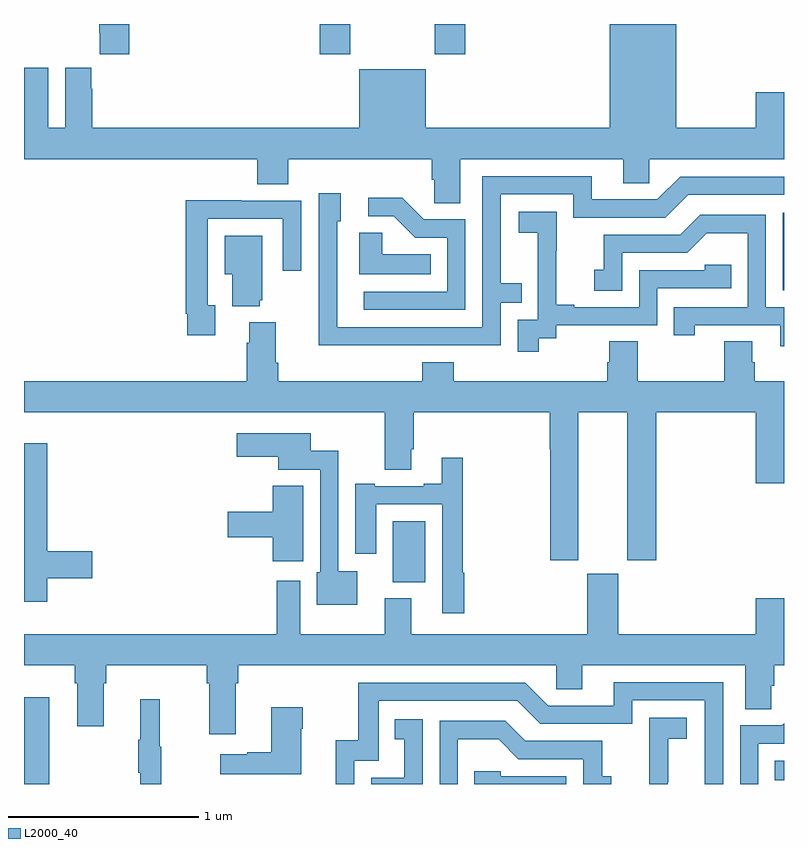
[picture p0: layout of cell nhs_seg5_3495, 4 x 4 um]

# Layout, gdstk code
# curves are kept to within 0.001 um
import gdstk
lib = gdstk.Library(unit=1e-6, precision=1e-09)
def R(c, l, rs):  # rectangles x0, y0, x1, y1
    for r in rs: c.add(gdstk.rectangle(r[:2], r[2:], *l))
def P(c, l, *ps):  # polygons
    for p in ps: c.add(gdstk.Polygon(p, *l))
L2000_40 = (2000, 40)

nhs_seg5_3495 = lib.new_cell('nhs_seg5_3495')
R(nhs_seg5_3495, L2000_40, [(317,858.799,317.134,859.255), (320.95,858.818,321,858.922), (318.941,859.862,319.111,860.182), (320.994,861.399,321,861.805), (318.557,862.641,318.717,862.799), (319.162,862.641,319.322,862.799)])
P(nhs_seg5_3495, L2000_40, [(318.227,861.955),(318.392,861.955),(318.392,862.088),(319.145,862.088),(319.145,861.979),(319.158,861.979),(319.158,861.856),(319.297,861.856),(319.297,862.088),(320.153,862.088),(320.153,861.961),(320.292,861.961),(320.292,862.088),(321,862.088),(321,862.441),(320.852,862.441),(320.852,862.252),(320.434,862.252),(320.434,862.799),(320.084,862.799),(320.084,862.252),(319.114,862.252),(319.114,862.561),(318.764,862.561),(318.764,862.252),(317.36,862.252),(317.36,862.457),(317.353,862.457),(317.353,862.57),(317.216,862.57),(317.216,862.252),(317.128,862.252),(317.128,862.57),(317,862.57),(317,862.088),(318.227,862.088)],
  [(317.555,862.799),(317.395,862.799),(317.395,862.753),(317.399,862.753),(317.399,862.641),(317.555,862.641)],
  [(319.013,861.108),(319.509,861.108),(319.509,861.333),(319.619,861.333),(319.619,861.434),(319.509,861.434),(319.509,861.903),(319.89,861.903),(319.89,861.78),(320.376,861.78),(320.496,861.9),(321,861.9),(321,861.996),(320.454,861.996),(320.334,861.876),(319.987,861.876),(319.987,861.999),(319.413,861.999),(319.413,861.204),(318.648,861.204),(318.648,861.762),(318.667,861.762),(318.667,861.907),(318.552,861.907),(318.552,861.413),(318.55,861.413),(318.55,861.107)],
  [(319.323,861.771),(319.104,861.771),(318.991,861.884),(318.813,861.884),(318.813,861.786),(318.947,861.786),(319.058,861.675),(319.227,861.675),(319.227,861.39),(318.789,861.39),(318.789,861.294),(319.323,861.294)],
  [(318.007,861.318),(317.967,861.318),(317.967,861.774),(318.363,861.774),(318.363,861.501),(318.459,861.501),(318.459,861.87),(318.143,861.87),(318.143,861.872),(317.851,861.872),(317.851,861.274),(317.859,861.274),(317.859,861.162),(318.007,861.162)],
  [(319.708,861.145),(319.8,861.145),(319.8,861.213),(320.334,861.213),(320.334,861.408),(320.723,861.408),(320.723,861.531),(320.583,861.531),(320.583,861.504),(320.238,861.504),(320.238,861.309),(319.897,861.309),(319.897,861.322),(319.802,861.322),(319.802,861.605),(319.803,861.605),(319.803,861.811),(319.605,861.811),(319.605,861.701),(319.703,861.701),(319.703,861.473),(319.704,861.473),(319.704,861.243),(319.599,861.243),(319.599,861.075),(319.708,861.075)],
  [(321,861.309),(320.904,861.309),(320.904,861.795),(320.558,861.795),(320.453,861.69),(320.05,861.69),(320.05,861.505),(320.001,861.505),(320.001,861.396),(320.148,861.396),(320.148,861.594),(320.49,861.594),(320.594,861.698),(320.808,861.698),(320.808,861.309),(320.419,861.309),(320.419,861.162),(320.53,861.162),(320.53,861.213),(320.981,861.213),(320.981,861.102),(321,861.102)],
  [(319.142,861.586),(318.885,861.586),(318.885,861.701),(318.764,861.701),(318.764,861.482),(319.142,861.482)],
  [(318.242,861.345),(318.253,861.345),(318.253,861.685),(318.056,861.685),(318.056,861.482),(318.095,861.482),(318.095,861.314),(318.242,861.314)],
  [(319.918,860.756),(320.174,860.756),(320.174,859.977),(320.327,859.977),(320.327,860.756),(320.852,860.756),(320.852,860.382),(321,860.382),(321,860.92),(320.846,860.92),(320.846,861.018),(320.833,861.018),(320.833,861.128),(320.686,861.128),(320.686,860.92),(320.229,860.92),(320.229,861.128),(320.081,861.128),(320.081,861.018),(320.069,861.018),(320.069,860.92),(319.262,860.92),(319.262,861.019),(319.097,861.019),(319.097,860.92),(318.338,860.92),(318.338,861.016),(318.325,861.016),(318.325,861.229),(318.185,861.229),(318.185,861.122),(318.173,861.122),(318.173,860.92),(317,860.92),(317,860.756),(318.899,860.756),(318.899,860.452),(319.039,860.452),(319.039,860.56),(319.052,860.56),(319.052,860.756),(319.766,860.756),(319.766,860.56),(319.771,860.56),(319.771,859.977),(319.918,859.977)],
  [(318.754,859.918),(318.654,859.918),(318.654,860.552),(318.508,860.552),(318.508,860.644),(318.12,860.644),(318.12,860.522),(318.338,860.522),(318.338,860.454),(318.558,860.454),(318.558,859.914),(318.542,859.914),(318.542,859.742),(318.754,859.742)],
  [(317.123,859.882),(317.359,859.882),(317.359,860.024),(317.123,860.024),(317.123,860.593),(317,860.593),(317,859.758),(317.123,859.758)],
  [(319.316,859.91),(319.309,859.91),(319.309,860.515),(319.199,860.515),(319.199,860.38),(319.103,860.38),(319.103,860.367),(318.847,860.367),(318.847,860.38),(318.743,860.38),(318.743,860.01),(318.853,860.01),(318.853,860.271),(319.2,860.271),(319.2,859.698),(319.316,859.698)],
  [(318.469,860.369),(318.308,860.369),(318.308,860.233),(318.072,860.233),(318.072,860.099),(318.308,860.099),(318.308,859.971),(318.469,859.971)],
  [(318.115,859.328),(318.128,859.328),(318.128,859.424),(319.8,859.424),(319.8,859.297),(319.939,859.297),(319.939,859.424),(320.795,859.424),(320.795,859.192),(320.934,859.192),(320.934,859.315),(320.948,859.315),(320.948,859.424),(321,859.424),(321,859.777),(320.852,859.777),(320.852,859.588),(320.128,859.588),(320.128,859.905),(319.964,859.905),(319.964,859.588),(319.039,859.588),(319.039,859.777),(318.899,859.777),(318.899,859.588),(318.454,859.588),(318.454,859.87),(318.329,859.87),(318.329,859.588),(317,859.588),(317,859.424),(317.267,859.424),(317.267,859.328),(317.279,859.328),(317.279,859.104),(317.419,859.104),(317.419,859.328),(317.432,859.328),(317.432,859.424),(317.963,859.424),(317.963,859.328),(317.975,859.328),(317.975,859.062),(318.115,859.062)],
  [(318.738,858.921),(318.867,858.921),(318.867,859.236),(319.596,859.236),(319.716,859.116),(320.202,859.116),(320.202,859.239),(320.583,859.239),(320.583,858.799),(320.679,858.799),(320.679,859.335),(320.105,859.335),(320.105,859.212),(319.758,859.212),(319.638,859.332),(318.759,859.332),(318.759,859.03),(318.641,859.03),(318.641,858.799),(318.738,858.799)],
  [(317.722,858.996),(317.714,858.996),(317.714,859.246),(317.612,859.246),(317.612,859.033),(317.601,859.033),(317.601,858.859),(317.612,858.859),(317.612,858.799),(317.722,858.799)],
  [(318.46,859.091),(318.468,859.091),(318.468,859.204),(318.302,859.204),(318.302,858.965),(318.176,858.965),(318.176,858.955),(318.033,858.955),(318.033,858.851),(318.46,858.851)],
  [(320.388,858.809),(320.39,858.809),(320.39,859.037),(320.488,859.037),(320.488,859.147),(320.29,859.147),(320.29,858.941),(320.291,858.941),(320.291,858.799),(320.388,858.799)],
  [(319.098,859.141),(318.952,859.141),(318.952,859.035),(319.001,859.035),(319.001,858.831),(318.828,858.831),(318.828,858.799),(319.098,858.799)],
  [(319.284,859.034),(319.498,859.034),(319.602,858.93),(319.944,858.93),(319.944,858.799),(320.092,858.799),(320.092,858.841),(320.043,858.841),(320.043,859.026),(319.639,859.026),(319.534,859.131),(319.188,859.131),(319.188,858.799),(319.284,858.799)],
  [(320.865,859.011),(321,859.011),(321,859.119),(320.988,859.107),(320.769,859.107),(320.769,858.799),(320.865,858.799)],
  [(319.854,858.84),(319.509,858.84),(319.509,858.867),(319.369,858.867),(319.369,858.799),(319.854,858.799)])

lib.write_gds('nhs_seg5_3495.gds')
